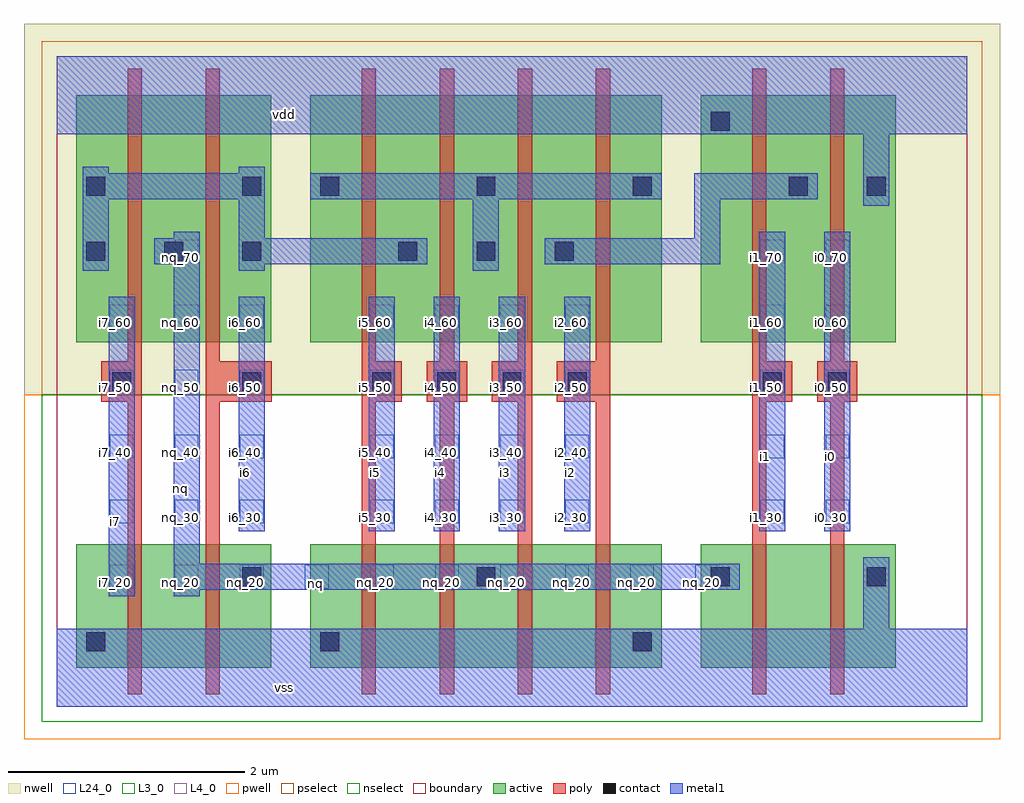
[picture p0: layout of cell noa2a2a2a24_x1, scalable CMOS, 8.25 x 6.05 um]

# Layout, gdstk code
import gdstk
lib = gdstk.Library(unit=1e-6, precision=2.5e-09)
def R(c, l, rs):  # rectangles x0, y0, x1, y1
    for r in rs: c.add(gdstk.rectangle(r[:2], r[2:], *l))
def A(c, l, x, y, w, h, nx, ny, dx, dy):  # array of equal rectangles
    R(c, l, [(x+i*dx, y+j*dy, x+i*dx+w, y+j*dy+h) for i in range(nx) for j in range(ny)])
L3_0 = (3, 0)
L4_0 = (4, 0)
L24_0 = (24, 0)
contact = (25, 0)
pwell = (41, 0)
nwell = (42, 0)
active = (43, 0)
pselect = (44, 0)
nselect = (45, 0)
poly = (46, 0)
metal1 = (49, 0)
boundary = (63, 0)

noa2a2a2a24_x1 = lib.new_cell('noa2a2a2a24_x1')
R(noa2a2a2a24_x1, L3_0, [(0.165,0.33,1.815,1.375), (2.145,0.33,5.115,1.375), (5.445,0.33,7.095,1.375)])
R(noa2a2a2a24_x1, L4_0, [(0.165,3.08,1.815,5.17), (2.145,3.08,5.115,5.17), (5.445,3.08,7.095,5.17)])
A(noa2a2a2a24_x1, L24_0, 0.45, 1, 0.2, 0.2, 10, 1, 0.55, 0)
A(noa2a2a2a24_x1, L24_0, 0.45, 1.55, 0.2, 0.2, 3, 4, 0.55, 0.55)
A(noa2a2a2a24_x1, L24_0, 2.65, 1.55, 0.2, 0.2, 4, 4, 0.55, 0.55)
A(noa2a2a2a24_x1, L24_0, 5.95, 1.55, 0.2, 0.2, 1, 5, 0, 0.55)
A(noa2a2a2a24_x1, L24_0, 6.5, 1.55, 0.2, 0.2, 1, 5, 0, 0.55)
R(noa2a2a2a24_x1, L24_0, [(1,3.75,1.2,3.95)])
A(noa2a2a2a24_x1, contact, 1.57, 1.02, 0.16, 0.16, 3, 1, 1.98, 0)
A(noa2a2a2a24_x1, contact, 0.47, 2.67, 0.16, 0.16, 3, 1, 1.1, 0)
A(noa2a2a2a24_x1, contact, 3.22, 2.67, 0.16, 0.16, 3, 1, 0.55, 0)
A(noa2a2a2a24_x1, contact, 0.25, 3.77, 0.16, 0.16, 3, 1, 0.66, 0)
A(noa2a2a2a24_x1, contact, 2.89, 3.77, 0.16, 0.16, 3, 1, 0.66, 0)
A(noa2a2a2a24_x1, contact, 2.23, 4.32, 0.16, 0.16, 4, 1, 1.32, 0)
R(noa2a2a2a24_x1, contact, [(0.25,0.47,0.41,0.63), (2.23,0.47,2.39,0.63), (4.87,0.47,5.03,0.63), (6.85,1.02,7.01,1.18), (5.97,2.67,6.13,2.83), (6.52,2.67,6.68,2.83), (0.25,4.32,0.41,4.48), (1.57,4.32,1.73,4.48), (6.85,4.32,7.01,4.48), (5.53,4.87,5.69,5.03)])
R(noa2a2a2a24_x1, pwell, [(-0.275,-0.275,7.975,2.64)])
R(noa2a2a2a24_x1, nwell, [(-0.275,2.64,7.975,5.775)])
R(noa2a2a2a24_x1, active, [(0.165,0.33,1.815,1.375), (2.145,0.33,5.115,1.375), (5.445,0.33,7.095,1.375), (0.165,3.08,1.815,5.17), (2.145,3.08,5.115,5.17), (5.445,3.08,7.095,5.17)])
R(noa2a2a2a24_x1, pselect, [(-0.125,2.64,7.825,5.625)])
R(noa2a2a2a24_x1, nselect, [(-0.125,-0.125,7.825,2.64)])
A(noa2a2a2a24_x1, poly, 2.58, 0.105, 0.12, 2.475, 4, 2, 0.66, 2.815)
A(noa2a2a2a24_x1, poly, 2.58, 2.58, 0.34, 0.34, 3, 1, 0.55, 0)
R(noa2a2a2a24_x1, poly, [(0.6,0.105,0.72,2.58), (1.26,0.105,1.38,2.58), (5.88,0.105,6,2.58), (6.54,0.105,6.66,2.58), (0.38,2.58,0.72,2.92), (1.26,2.58,1.82,2.92), (4.23,2.58,4.68,2.92), (5.88,2.58,6.22,2.92), (6.43,2.58,6.77,2.92), (0.6,2.92,0.72,5.395), (1.26,2.92,1.38,5.395), (5.88,2.92,6,5.395), (6.54,2.92,6.66,5.395)])
A(noa2a2a2a24_x1, metal1, 2.64, 1.485, 0.22, 1.98, 4, 1, 0.55, 0)
R(noa2a2a2a24_x1, metal1, [(0,0,7.7,0.66), (6.82,0.66,7.04,1.265), (0.44,0.935,0.66,3.465), (0.99,0.935,1.21,0.99), (0.99,0.99,5.775,1.21), (0.99,1.21,1.21,3.74), (1.54,1.485,1.76,3.465), (5.94,1.485,6.16,4.015), (6.49,1.485,6.71,4.015), (0.22,3.685,0.44,4.29), (1.54,3.685,1.76,3.74), (3.52,3.685,3.74,4.29), (0.825,3.74,1.21,3.96), (1.54,3.74,3.135,3.96), (4.125,3.74,5.61,3.96), (0.99,3.96,1.21,4.015), (1.54,3.96,1.76,4.29), (5.39,3.96,5.61,4.29), (6.82,4.235,7.04,4.84), (0.22,4.29,1.76,4.51), (2.145,4.29,5.115,4.51), (5.39,4.29,6.435,4.51), (0.22,4.51,0.44,4.565), (1.54,4.51,1.76,4.565), (0,4.84,7.7,5.5)])
R(noa2a2a2a24_x1, boundary, [(0,0,7.7,5.5)])
noa2a2a2a24_x1.add(gdstk.Label('vss', (1.925,0.165), layer=49, texttype=0))
noa2a2a2a24_x1.add(gdstk.Label('nq', (2.185,1.045), layer=49, texttype=0))
noa2a2a2a24_x1.add(gdstk.Label('i0', (6.545,2.1175), layer=49, texttype=0))
noa2a2a2a24_x1.add(gdstk.Label('i1', (5.995,2.1175), layer=49, texttype=0))
noa2a2a2a24_x1.add(gdstk.Label('i2', (4.345,1.98), layer=49, texttype=0))
noa2a2a2a24_x1.add(gdstk.Label('i3', (3.795,1.98), layer=49, texttype=0))
noa2a2a2a24_x1.add(gdstk.Label('i4', (3.245,1.98), layer=49, texttype=0))
noa2a2a2a24_x1.add(gdstk.Label('i5', (2.695,1.98), layer=49, texttype=0))
noa2a2a2a24_x1.add(gdstk.Label('i6', (1.595,1.98), layer=49, texttype=0))
noa2a2a2a24_x1.add(gdstk.Label('nq', (1.045,1.8425), layer=49, texttype=0))
noa2a2a2a24_x1.add(gdstk.Label('i7', (0.495,1.5675), layer=49, texttype=0))
noa2a2a2a24_x1.add(gdstk.Label('vdd', (1.925,5.005), layer=49, texttype=0))
noa2a2a2a24_x1.add(gdstk.Label('nq_20', (1.6,1.05), layer=24, texttype=0))
noa2a2a2a24_x1.add(gdstk.Label('nq_20', (2.15,1.05), layer=24, texttype=0))
noa2a2a2a24_x1.add(gdstk.Label('nq_20', (2.7,1.05), layer=24, texttype=0))
noa2a2a2a24_x1.add(gdstk.Label('nq_20', (3.25,1.05), layer=24, texttype=0))
noa2a2a2a24_x1.add(gdstk.Label('nq_20', (3.8,1.05), layer=24, texttype=0))
noa2a2a2a24_x1.add(gdstk.Label('nq_20', (4.35,1.05), layer=24, texttype=0))
noa2a2a2a24_x1.add(gdstk.Label('nq_20', (4.9,1.05), layer=24, texttype=0))
noa2a2a2a24_x1.add(gdstk.Label('nq_20', (5.45,1.05), layer=24, texttype=0))
noa2a2a2a24_x1.add(gdstk.Label('i0_70', (6.55,3.8), layer=24, texttype=0))
noa2a2a2a24_x1.add(gdstk.Label('i0_60', (6.55,3.25), layer=24, texttype=0))
noa2a2a2a24_x1.add(gdstk.Label('i0_50', (6.55,2.7), layer=24, texttype=0))
noa2a2a2a24_x1.add(gdstk.Label('i0_40', (6.55,2.15), layer=24, texttype=0))
noa2a2a2a24_x1.add(gdstk.Label('i0_30', (6.55,1.6), layer=24, texttype=0))
noa2a2a2a24_x1.add(gdstk.Label('i1_70', (6,3.8), layer=24, texttype=0))
noa2a2a2a24_x1.add(gdstk.Label('i1_60', (6,3.25), layer=24, texttype=0))
noa2a2a2a24_x1.add(gdstk.Label('i1_50', (6,2.7), layer=24, texttype=0))
noa2a2a2a24_x1.add(gdstk.Label('i1_40', (6,2.15), layer=24, texttype=0))
noa2a2a2a24_x1.add(gdstk.Label('i1_30', (6,1.6), layer=24, texttype=0))
noa2a2a2a24_x1.add(gdstk.Label('i2_60', (4.35,3.25), layer=24, texttype=0))
noa2a2a2a24_x1.add(gdstk.Label('i2_50', (4.35,2.7), layer=24, texttype=0))
noa2a2a2a24_x1.add(gdstk.Label('i2_40', (4.35,2.15), layer=24, texttype=0))
noa2a2a2a24_x1.add(gdstk.Label('i2_30', (4.35,1.6), layer=24, texttype=0))
noa2a2a2a24_x1.add(gdstk.Label('i3_60', (3.8,3.25), layer=24, texttype=0))
noa2a2a2a24_x1.add(gdstk.Label('i3_50', (3.8,2.7), layer=24, texttype=0))
noa2a2a2a24_x1.add(gdstk.Label('i3_40', (3.8,2.15), layer=24, texttype=0))
noa2a2a2a24_x1.add(gdstk.Label('i3_30', (3.8,1.6), layer=24, texttype=0))
noa2a2a2a24_x1.add(gdstk.Label('i4_60', (3.25,3.25), layer=24, texttype=0))
noa2a2a2a24_x1.add(gdstk.Label('i4_50', (3.25,2.7), layer=24, texttype=0))
noa2a2a2a24_x1.add(gdstk.Label('i4_40', (3.25,2.15), layer=24, texttype=0))
noa2a2a2a24_x1.add(gdstk.Label('i4_30', (3.25,1.6), layer=24, texttype=0))
noa2a2a2a24_x1.add(gdstk.Label('i5_60', (2.7,3.25), layer=24, texttype=0))
noa2a2a2a24_x1.add(gdstk.Label('i5_50', (2.7,2.7), layer=24, texttype=0))
noa2a2a2a24_x1.add(gdstk.Label('i5_40', (2.7,2.15), layer=24, texttype=0))
noa2a2a2a24_x1.add(gdstk.Label('i5_30', (2.7,1.6), layer=24, texttype=0))
noa2a2a2a24_x1.add(gdstk.Label('i6_60', (1.6,3.25), layer=24, texttype=0))
noa2a2a2a24_x1.add(gdstk.Label('i6_50', (1.6,2.7), layer=24, texttype=0))
noa2a2a2a24_x1.add(gdstk.Label('i6_40', (1.6,2.15), layer=24, texttype=0))
noa2a2a2a24_x1.add(gdstk.Label('i6_30', (1.6,1.6), layer=24, texttype=0))
noa2a2a2a24_x1.add(gdstk.Label('nq_70', (1.05,3.8), layer=24, texttype=0))
noa2a2a2a24_x1.add(gdstk.Label('nq_60', (1.05,3.25), layer=24, texttype=0))
noa2a2a2a24_x1.add(gdstk.Label('nq_50', (1.05,2.7), layer=24, texttype=0))
noa2a2a2a24_x1.add(gdstk.Label('nq_40', (1.05,2.15), layer=24, texttype=0))
noa2a2a2a24_x1.add(gdstk.Label('nq_30', (1.05,1.6), layer=24, texttype=0))
noa2a2a2a24_x1.add(gdstk.Label('nq_20', (1.05,1.05), layer=24, texttype=0))
noa2a2a2a24_x1.add(gdstk.Label('i7_60', (0.5,3.25), layer=24, texttype=0))
noa2a2a2a24_x1.add(gdstk.Label('i7_50', (0.5,2.7), layer=24, texttype=0))
noa2a2a2a24_x1.add(gdstk.Label('i7_40', (0.5,2.15), layer=24, texttype=0))
noa2a2a2a24_x1.add(gdstk.Label('i7_30', (0.5,1.6), layer=24, texttype=0))
noa2a2a2a24_x1.add(gdstk.Label('i7_20', (0.5,1.05), layer=24, texttype=0))

lib.write_gds('noa2a2a2a24_x1.gds')
